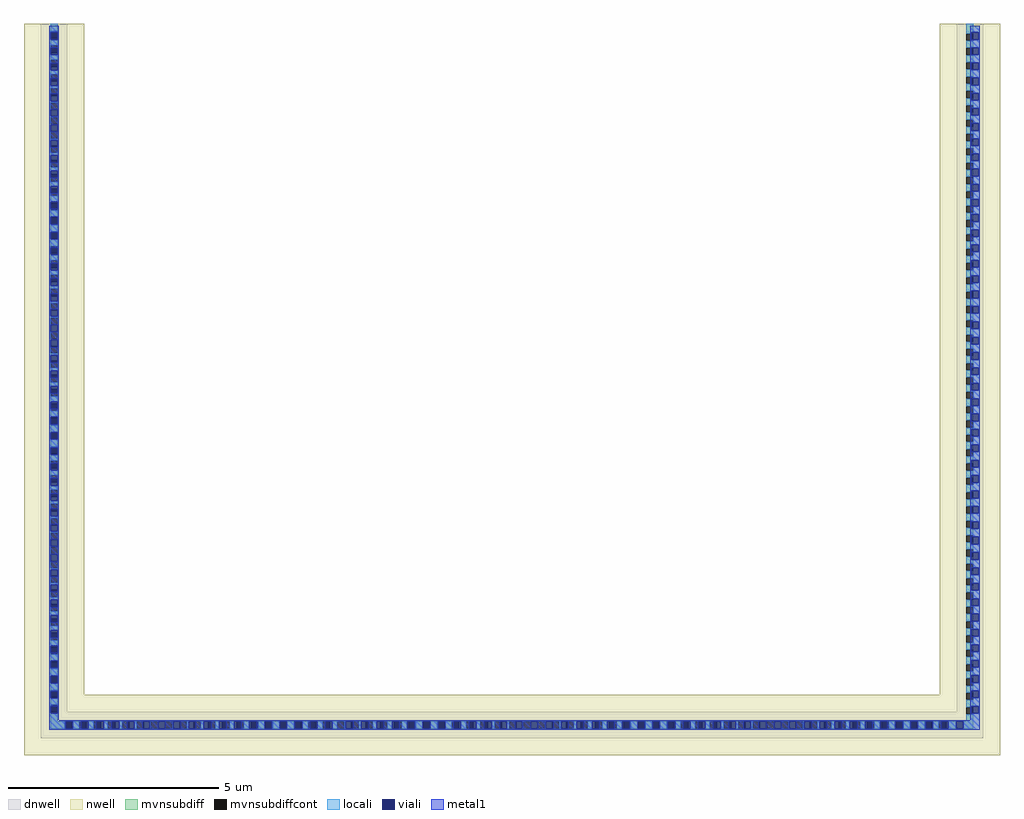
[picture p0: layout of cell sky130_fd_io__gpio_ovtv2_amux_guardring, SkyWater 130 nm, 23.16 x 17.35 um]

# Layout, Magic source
magic
tech sky130A
magscale 1 2
<< dnwell >>
rect -40 86 86 3350
rect 4306 86 4432 3350
rect -40 -40 4432 86
<< nwell >>
rect -120 166 166 3350
rect 4226 166 4512 3350
rect -120 -120 4512 166
<< mvnsubdiff >>
rect 6 3316 40 3350
rect 6 3248 40 3282
rect 6 3180 40 3214
rect 6 3112 40 3146
rect 6 3044 40 3078
rect 6 2976 40 3010
rect 6 2908 40 2942
rect 6 2840 40 2874
rect 6 2772 40 2806
rect 6 2704 40 2738
rect 6 2636 40 2670
rect 6 2568 40 2602
rect 6 2500 40 2534
rect 6 2432 40 2466
rect 6 2364 40 2398
rect 6 2296 40 2330
rect 6 2228 40 2262
rect 6 2160 40 2194
rect 6 2092 40 2126
rect 6 2024 40 2058
rect 6 1956 40 1990
rect 6 1888 40 1922
rect 6 1820 40 1854
rect 6 1752 40 1786
rect 6 1684 40 1718
rect 6 1616 40 1650
rect 6 1548 40 1582
rect 6 1480 40 1514
rect 6 1412 40 1446
rect 6 1344 40 1378
rect 6 1276 40 1310
rect 6 1208 40 1242
rect 6 1140 40 1174
rect 6 1072 40 1106
rect 6 1004 40 1038
rect 6 936 40 970
rect 6 868 40 902
rect 6 800 40 834
rect 6 732 40 766
rect 6 664 40 698
rect 6 596 40 630
rect 6 528 40 562
rect 6 460 40 494
rect 6 392 40 426
rect 6 324 40 358
rect 6 256 40 290
rect 6 188 40 222
rect 6 120 40 154
rect 6 40 40 86
rect 4352 3304 4386 3350
rect 4352 3236 4386 3270
rect 4352 3168 4386 3202
rect 4352 3100 4386 3134
rect 4352 3032 4386 3066
rect 4352 2964 4386 2998
rect 4352 2896 4386 2930
rect 4352 2828 4386 2862
rect 4352 2760 4386 2794
rect 4352 2692 4386 2726
rect 4352 2624 4386 2658
rect 4352 2556 4386 2590
rect 4352 2488 4386 2522
rect 4352 2420 4386 2454
rect 4352 2352 4386 2386
rect 4352 2284 4386 2318
rect 4352 2216 4386 2250
rect 4352 2148 4386 2182
rect 4352 2080 4386 2114
rect 4352 2012 4386 2046
rect 4352 1944 4386 1978
rect 4352 1876 4386 1910
rect 4352 1808 4386 1842
rect 4352 1740 4386 1774
rect 4352 1672 4386 1706
rect 4352 1604 4386 1638
rect 4352 1536 4386 1570
rect 4352 1468 4386 1502
rect 4352 1400 4386 1434
rect 4352 1332 4386 1366
rect 4352 1264 4386 1298
rect 4352 1196 4386 1230
rect 4352 1128 4386 1162
rect 4352 1060 4386 1094
rect 4352 992 4386 1026
rect 4352 924 4386 958
rect 4352 856 4386 890
rect 4352 788 4386 822
rect 4352 720 4386 754
rect 4352 652 4386 686
rect 4352 584 4386 618
rect 4352 516 4386 550
rect 4352 448 4386 482
rect 4352 380 4386 414
rect 4352 312 4386 346
rect 4352 244 4386 278
rect 4352 176 4386 210
rect 4352 108 4386 142
rect 4352 40 4386 74
rect 6 6 74 40
rect 108 6 142 40
rect 176 6 210 40
rect 244 6 278 40
rect 312 6 346 40
rect 380 6 414 40
rect 448 6 482 40
rect 516 6 550 40
rect 584 6 618 40
rect 652 6 686 40
rect 720 6 754 40
rect 788 6 822 40
rect 856 6 890 40
rect 924 6 958 40
rect 992 6 1026 40
rect 1060 6 1094 40
rect 1128 6 1162 40
rect 1196 6 1230 40
rect 1264 6 1298 40
rect 1332 6 1366 40
rect 1400 6 1434 40
rect 1468 6 1502 40
rect 1536 6 1570 40
rect 1604 6 1638 40
rect 1672 6 1706 40
rect 1740 6 1774 40
rect 1808 6 1842 40
rect 1876 6 1910 40
rect 1944 6 1978 40
rect 2012 6 2046 40
rect 2080 6 2114 40
rect 2148 6 2182 40
rect 2216 6 2250 40
rect 2284 6 2318 40
rect 2352 6 2386 40
rect 2420 6 2454 40
rect 2488 6 2522 40
rect 2556 6 2590 40
rect 2624 6 2658 40
rect 2692 6 2726 40
rect 2760 6 2794 40
rect 2828 6 2862 40
rect 2896 6 2930 40
rect 2964 6 2998 40
rect 3032 6 3066 40
rect 3100 6 3134 40
rect 3168 6 3202 40
rect 3236 6 3270 40
rect 3304 6 3338 40
rect 3372 6 3406 40
rect 3440 6 3474 40
rect 3508 6 3542 40
rect 3576 6 3610 40
rect 3644 6 3678 40
rect 3712 6 3746 40
rect 3780 6 3814 40
rect 3848 6 3882 40
rect 3916 6 3950 40
rect 3984 6 4018 40
rect 4052 6 4086 40
rect 4120 6 4154 40
rect 4188 6 4222 40
rect 4256 6 4386 40
<< mvnsubdiffcont >>
rect 6 3282 40 3316
rect 6 3214 40 3248
rect 6 3146 40 3180
rect 6 3078 40 3112
rect 6 3010 40 3044
rect 6 2942 40 2976
rect 6 2874 40 2908
rect 6 2806 40 2840
rect 6 2738 40 2772
rect 6 2670 40 2704
rect 6 2602 40 2636
rect 6 2534 40 2568
rect 6 2466 40 2500
rect 6 2398 40 2432
rect 6 2330 40 2364
rect 6 2262 40 2296
rect 6 2194 40 2228
rect 6 2126 40 2160
rect 6 2058 40 2092
rect 6 1990 40 2024
rect 6 1922 40 1956
rect 6 1854 40 1888
rect 6 1786 40 1820
rect 6 1718 40 1752
rect 6 1650 40 1684
rect 6 1582 40 1616
rect 6 1514 40 1548
rect 6 1446 40 1480
rect 6 1378 40 1412
rect 6 1310 40 1344
rect 6 1242 40 1276
rect 6 1174 40 1208
rect 6 1106 40 1140
rect 6 1038 40 1072
rect 6 970 40 1004
rect 6 902 40 936
rect 6 834 40 868
rect 6 766 40 800
rect 6 698 40 732
rect 6 630 40 664
rect 6 562 40 596
rect 6 494 40 528
rect 6 426 40 460
rect 6 358 40 392
rect 6 290 40 324
rect 6 222 40 256
rect 6 154 40 188
rect 6 86 40 120
rect 4352 3270 4386 3304
rect 4352 3202 4386 3236
rect 4352 3134 4386 3168
rect 4352 3066 4386 3100
rect 4352 2998 4386 3032
rect 4352 2930 4386 2964
rect 4352 2862 4386 2896
rect 4352 2794 4386 2828
rect 4352 2726 4386 2760
rect 4352 2658 4386 2692
rect 4352 2590 4386 2624
rect 4352 2522 4386 2556
rect 4352 2454 4386 2488
rect 4352 2386 4386 2420
rect 4352 2318 4386 2352
rect 4352 2250 4386 2284
rect 4352 2182 4386 2216
rect 4352 2114 4386 2148
rect 4352 2046 4386 2080
rect 4352 1978 4386 2012
rect 4352 1910 4386 1944
rect 4352 1842 4386 1876
rect 4352 1774 4386 1808
rect 4352 1706 4386 1740
rect 4352 1638 4386 1672
rect 4352 1570 4386 1604
rect 4352 1502 4386 1536
rect 4352 1434 4386 1468
rect 4352 1366 4386 1400
rect 4352 1298 4386 1332
rect 4352 1230 4386 1264
rect 4352 1162 4386 1196
rect 4352 1094 4386 1128
rect 4352 1026 4386 1060
rect 4352 958 4386 992
rect 4352 890 4386 924
rect 4352 822 4386 856
rect 4352 754 4386 788
rect 4352 686 4386 720
rect 4352 618 4386 652
rect 4352 550 4386 584
rect 4352 482 4386 516
rect 4352 414 4386 448
rect 4352 346 4386 380
rect 4352 278 4386 312
rect 4352 210 4386 244
rect 4352 142 4386 176
rect 4352 74 4386 108
rect 74 6 108 40
rect 142 6 176 40
rect 210 6 244 40
rect 278 6 312 40
rect 346 6 380 40
rect 414 6 448 40
rect 482 6 516 40
rect 550 6 584 40
rect 618 6 652 40
rect 686 6 720 40
rect 754 6 788 40
rect 822 6 856 40
rect 890 6 924 40
rect 958 6 992 40
rect 1026 6 1060 40
rect 1094 6 1128 40
rect 1162 6 1196 40
rect 1230 6 1264 40
rect 1298 6 1332 40
rect 1366 6 1400 40
rect 1434 6 1468 40
rect 1502 6 1536 40
rect 1570 6 1604 40
rect 1638 6 1672 40
rect 1706 6 1740 40
rect 1774 6 1808 40
rect 1842 6 1876 40
rect 1910 6 1944 40
rect 1978 6 2012 40
rect 2046 6 2080 40
rect 2114 6 2148 40
rect 2182 6 2216 40
rect 2250 6 2284 40
rect 2318 6 2352 40
rect 2386 6 2420 40
rect 2454 6 2488 40
rect 2522 6 2556 40
rect 2590 6 2624 40
rect 2658 6 2692 40
rect 2726 6 2760 40
rect 2794 6 2828 40
rect 2862 6 2896 40
rect 2930 6 2964 40
rect 2998 6 3032 40
rect 3066 6 3100 40
rect 3134 6 3168 40
rect 3202 6 3236 40
rect 3270 6 3304 40
rect 3338 6 3372 40
rect 3406 6 3440 40
rect 3474 6 3508 40
rect 3542 6 3576 40
rect 3610 6 3644 40
rect 3678 6 3712 40
rect 3746 6 3780 40
rect 3814 6 3848 40
rect 3882 6 3916 40
rect 3950 6 3984 40
rect 4018 6 4052 40
rect 4086 6 4120 40
rect 4154 6 4188 40
rect 4222 6 4256 40
<< locali >>
rect 6 3342 40 3350
rect 4352 3342 4386 3350
rect 0 3316 46 3342
rect 0 3276 6 3316
rect 40 3276 46 3316
rect 0 3248 46 3276
rect 0 3203 6 3248
rect 40 3203 46 3248
rect 0 3180 46 3203
rect 0 3130 6 3180
rect 40 3130 46 3180
rect 0 3112 46 3130
rect 0 3057 6 3112
rect 40 3057 46 3112
rect 0 3044 46 3057
rect 0 2984 6 3044
rect 40 2984 46 3044
rect 0 2976 46 2984
rect 0 2911 6 2976
rect 40 2911 46 2976
rect 0 2908 46 2911
rect 0 2874 6 2908
rect 40 2874 46 2908
rect 0 2872 46 2874
rect 0 2806 6 2872
rect 40 2806 46 2872
rect 0 2799 46 2806
rect 0 2738 6 2799
rect 40 2738 46 2799
rect 0 2726 46 2738
rect 0 2670 6 2726
rect 40 2670 46 2726
rect 0 2653 46 2670
rect 0 2602 6 2653
rect 40 2602 46 2653
rect 0 2580 46 2602
rect 0 2534 6 2580
rect 40 2534 46 2580
rect 0 2507 46 2534
rect 0 2466 6 2507
rect 40 2466 46 2507
rect 0 2434 46 2466
rect 0 2398 6 2434
rect 40 2398 46 2434
rect 0 2364 46 2398
rect 0 2327 6 2364
rect 40 2327 46 2364
rect 0 2296 46 2327
rect 0 2254 6 2296
rect 40 2254 46 2296
rect 0 2228 46 2254
rect 0 2181 6 2228
rect 40 2181 46 2228
rect 0 2160 46 2181
rect 0 2108 6 2160
rect 40 2108 46 2160
rect 0 2092 46 2108
rect 0 2035 6 2092
rect 40 2035 46 2092
rect 0 2024 46 2035
rect 0 1962 6 2024
rect 40 1962 46 2024
rect 0 1956 46 1962
rect 0 1889 6 1956
rect 40 1889 46 1956
rect 0 1888 46 1889
rect 0 1854 6 1888
rect 40 1854 46 1888
rect 0 1850 46 1854
rect 0 1786 6 1850
rect 40 1786 46 1850
rect 0 1777 46 1786
rect 0 1718 6 1777
rect 40 1718 46 1777
rect 0 1704 46 1718
rect 0 1650 6 1704
rect 40 1650 46 1704
rect 0 1631 46 1650
rect 0 1582 6 1631
rect 40 1582 46 1631
rect 0 1558 46 1582
rect 0 1514 6 1558
rect 40 1514 46 1558
rect 0 1485 46 1514
rect 0 1446 6 1485
rect 40 1446 46 1485
rect 0 1412 46 1446
rect 0 1378 6 1412
rect 40 1378 46 1412
rect 0 1344 46 1378
rect 0 1305 6 1344
rect 40 1305 46 1344
rect 0 1276 46 1305
rect 0 1232 6 1276
rect 40 1232 46 1276
rect 0 1208 46 1232
rect 0 1159 6 1208
rect 40 1159 46 1208
rect 0 1140 46 1159
rect 0 1086 6 1140
rect 40 1086 46 1140
rect 0 1072 46 1086
rect 0 1014 6 1072
rect 40 1014 46 1072
rect 0 1004 46 1014
rect 0 942 6 1004
rect 40 942 46 1004
rect 0 936 46 942
rect 0 870 6 936
rect 40 870 46 936
rect 0 868 46 870
rect 0 834 6 868
rect 40 834 46 868
rect 0 832 46 834
rect 0 766 6 832
rect 40 766 46 832
rect 0 760 46 766
rect 0 698 6 760
rect 40 698 46 760
rect 0 688 46 698
rect 0 630 6 688
rect 40 630 46 688
rect 0 616 46 630
rect 0 562 6 616
rect 40 562 46 616
rect 0 544 46 562
rect 0 494 6 544
rect 40 494 46 544
rect 0 472 46 494
rect 0 426 6 472
rect 40 426 46 472
rect 0 400 46 426
rect 0 358 6 400
rect 40 358 46 400
rect 0 328 46 358
rect 0 290 6 328
rect 40 290 46 328
rect 0 256 46 290
rect 0 222 6 256
rect 40 222 46 256
rect 0 188 46 222
rect 0 150 6 188
rect 40 150 46 188
rect 0 120 46 150
rect 0 78 6 120
rect 40 78 46 120
rect 0 46 46 78
rect 4352 3310 4416 3342
rect 4352 3304 4376 3310
rect 4410 3276 4416 3310
rect 4386 3270 4416 3276
rect 4352 3238 4416 3270
rect 4352 3236 4376 3238
rect 4410 3204 4416 3238
rect 4386 3202 4416 3204
rect 4352 3168 4416 3202
rect 4386 3166 4416 3168
rect 4352 3132 4376 3134
rect 4410 3132 4416 3166
rect 4352 3100 4416 3132
rect 4386 3094 4416 3100
rect 4352 3060 4376 3066
rect 4410 3060 4416 3094
rect 4352 3032 4416 3060
rect 4386 3022 4416 3032
rect 4352 2988 4376 2998
rect 4410 2988 4416 3022
rect 4352 2964 4416 2988
rect 4386 2950 4416 2964
rect 4352 2916 4376 2930
rect 4410 2916 4416 2950
rect 4352 2896 4416 2916
rect 4386 2878 4416 2896
rect 4352 2844 4376 2862
rect 4410 2844 4416 2878
rect 4352 2828 4416 2844
rect 4386 2806 4416 2828
rect 4352 2772 4376 2794
rect 4410 2772 4416 2806
rect 4352 2760 4416 2772
rect 4386 2734 4416 2760
rect 4352 2700 4376 2726
rect 4410 2700 4416 2734
rect 4352 2692 4416 2700
rect 4386 2662 4416 2692
rect 4352 2628 4376 2658
rect 4410 2628 4416 2662
rect 4352 2624 4416 2628
rect 4386 2590 4416 2624
rect 4352 2556 4376 2590
rect 4410 2556 4416 2590
rect 4386 2522 4416 2556
rect 4352 2518 4416 2522
rect 4352 2488 4376 2518
rect 4410 2484 4416 2518
rect 4386 2454 4416 2484
rect 4352 2446 4416 2454
rect 4352 2420 4376 2446
rect 4410 2412 4416 2446
rect 4386 2386 4416 2412
rect 4352 2374 4416 2386
rect 4352 2352 4376 2374
rect 4410 2340 4416 2374
rect 4386 2318 4416 2340
rect 4352 2302 4416 2318
rect 4352 2284 4376 2302
rect 4410 2268 4416 2302
rect 4386 2250 4416 2268
rect 4352 2229 4416 2250
rect 4352 2216 4376 2229
rect 4410 2195 4416 2229
rect 4386 2182 4416 2195
rect 4352 2156 4416 2182
rect 4352 2148 4376 2156
rect 4410 2122 4416 2156
rect 4386 2114 4416 2122
rect 4352 2083 4416 2114
rect 4352 2080 4376 2083
rect 4410 2049 4416 2083
rect 4386 2046 4416 2049
rect 4352 2012 4416 2046
rect 4386 2010 4416 2012
rect 4352 1976 4376 1978
rect 4410 1976 4416 2010
rect 4352 1944 4416 1976
rect 4386 1937 4416 1944
rect 4352 1903 4376 1910
rect 4410 1903 4416 1937
rect 4352 1876 4416 1903
rect 4386 1864 4416 1876
rect 4352 1830 4376 1842
rect 4410 1830 4416 1864
rect 4352 1808 4416 1830
rect 4386 1791 4416 1808
rect 4352 1757 4376 1774
rect 4410 1757 4416 1791
rect 4352 1740 4416 1757
rect 4386 1718 4416 1740
rect 4352 1684 4376 1706
rect 4410 1684 4416 1718
rect 4352 1672 4416 1684
rect 4386 1645 4416 1672
rect 4352 1611 4376 1638
rect 4410 1611 4416 1645
rect 4352 1604 4416 1611
rect 4386 1572 4416 1604
rect 4352 1538 4376 1570
rect 4410 1538 4416 1572
rect 4352 1536 4416 1538
rect 4386 1502 4416 1536
rect 4352 1499 4416 1502
rect 4352 1468 4376 1499
rect 4410 1465 4416 1499
rect 4386 1434 4416 1465
rect 4352 1426 4416 1434
rect 4352 1400 4376 1426
rect 4410 1392 4416 1426
rect 4386 1366 4416 1392
rect 4352 1353 4416 1366
rect 4352 1332 4376 1353
rect 4410 1319 4416 1353
rect 4386 1298 4416 1319
rect 4352 1280 4416 1298
rect 4352 1264 4376 1280
rect 4410 1246 4416 1280
rect 4386 1230 4416 1246
rect 4352 1207 4416 1230
rect 4352 1196 4376 1207
rect 4410 1173 4416 1207
rect 4386 1162 4416 1173
rect 4352 1134 4416 1162
rect 4352 1128 4376 1134
rect 4410 1100 4416 1134
rect 4386 1094 4416 1100
rect 4352 1061 4416 1094
rect 4352 1060 4376 1061
rect 4410 1027 4416 1061
rect 4386 1026 4416 1027
rect 4352 992 4416 1026
rect 4386 988 4416 992
rect 4352 954 4376 958
rect 4410 954 4416 988
rect 4352 924 4416 954
rect 4386 915 4416 924
rect 4352 881 4376 890
rect 4410 881 4416 915
rect 4352 856 4416 881
rect 4386 842 4416 856
rect 4352 808 4376 822
rect 4410 808 4416 842
rect 4352 788 4416 808
rect 4386 769 4416 788
rect 4352 735 4376 754
rect 4410 735 4416 769
rect 4352 720 4416 735
rect 4386 696 4416 720
rect 4352 662 4376 686
rect 4410 662 4416 696
rect 4352 652 4416 662
rect 4386 623 4416 652
rect 4352 589 4376 618
rect 4410 589 4416 623
rect 4352 584 4416 589
rect 4386 550 4416 584
rect 4352 516 4376 550
rect 4410 516 4416 550
rect 4386 482 4416 516
rect 4352 477 4416 482
rect 4352 448 4376 477
rect 4410 443 4416 477
rect 4386 414 4416 443
rect 4352 404 4416 414
rect 4352 380 4376 404
rect 4410 370 4416 404
rect 4386 346 4416 370
rect 4352 331 4416 346
rect 4352 312 4376 331
rect 4410 297 4416 331
rect 4386 278 4416 297
rect 4352 258 4416 278
rect 4352 244 4376 258
rect 4410 224 4416 258
rect 4386 210 4416 224
rect 4352 185 4416 210
rect 4352 176 4376 185
rect 4410 151 4416 185
rect 4386 142 4416 151
rect 4352 112 4416 142
rect 4352 108 4376 112
rect 4410 78 4416 112
rect 4386 74 4416 78
rect 4352 46 4416 74
rect 0 40 4416 46
rect 0 6 74 40
rect 112 6 142 40
rect 185 6 210 40
rect 258 6 278 40
rect 331 6 346 40
rect 404 6 414 40
rect 477 6 482 40
rect 584 6 589 40
rect 652 6 662 40
rect 720 6 734 40
rect 788 6 806 40
rect 856 6 878 40
rect 924 6 950 40
rect 992 6 1022 40
rect 1060 6 1094 40
rect 1128 6 1162 40
rect 1200 6 1230 40
rect 1272 6 1298 40
rect 1344 6 1366 40
rect 1400 6 1408 40
rect 1468 6 1481 40
rect 1536 6 1554 40
rect 1604 6 1627 40
rect 1672 6 1700 40
rect 1740 6 1773 40
rect 1808 6 1842 40
rect 1880 6 1910 40
rect 1953 6 1978 40
rect 2026 6 2046 40
rect 2099 6 2114 40
rect 2172 6 2182 40
rect 2245 6 2250 40
rect 2352 6 2357 40
rect 2420 6 2430 40
rect 2488 6 2503 40
rect 2556 6 2576 40
rect 2624 6 2648 40
rect 2692 6 2720 40
rect 2760 6 2792 40
rect 2828 6 2862 40
rect 2898 6 2930 40
rect 2970 6 2998 40
rect 3042 6 3066 40
rect 3114 6 3134 40
rect 3186 6 3202 40
rect 3258 6 3270 40
rect 3330 6 3338 40
rect 3402 6 3406 40
rect 3508 6 3512 40
rect 3576 6 3584 40
rect 3644 6 3656 40
rect 3712 6 3728 40
rect 3780 6 3800 40
rect 3848 6 3872 40
rect 3916 6 3944 40
rect 3984 6 4016 40
rect 4052 6 4086 40
rect 4122 6 4154 40
rect 4194 6 4222 40
rect 4266 6 4304 40
rect 4338 6 4416 40
rect 0 0 4416 6
<< viali >>
rect 6 3282 40 3310
rect 6 3276 40 3282
rect 6 3214 40 3237
rect 6 3203 40 3214
rect 6 3146 40 3164
rect 6 3130 40 3146
rect 6 3078 40 3091
rect 6 3057 40 3078
rect 6 3010 40 3018
rect 6 2984 40 3010
rect 6 2942 40 2945
rect 6 2911 40 2942
rect 6 2840 40 2872
rect 6 2838 40 2840
rect 6 2772 40 2799
rect 6 2765 40 2772
rect 6 2704 40 2726
rect 6 2692 40 2704
rect 6 2636 40 2653
rect 6 2619 40 2636
rect 6 2568 40 2580
rect 6 2546 40 2568
rect 6 2500 40 2507
rect 6 2473 40 2500
rect 6 2432 40 2434
rect 6 2400 40 2432
rect 6 2330 40 2361
rect 6 2327 40 2330
rect 6 2262 40 2288
rect 6 2254 40 2262
rect 6 2194 40 2215
rect 6 2181 40 2194
rect 6 2126 40 2142
rect 6 2108 40 2126
rect 6 2058 40 2069
rect 6 2035 40 2058
rect 6 1990 40 1996
rect 6 1962 40 1990
rect 6 1922 40 1923
rect 6 1889 40 1922
rect 6 1820 40 1850
rect 6 1816 40 1820
rect 6 1752 40 1777
rect 6 1743 40 1752
rect 6 1684 40 1704
rect 6 1670 40 1684
rect 6 1616 40 1631
rect 6 1597 40 1616
rect 6 1548 40 1558
rect 6 1524 40 1548
rect 6 1480 40 1485
rect 6 1451 40 1480
rect 6 1378 40 1412
rect 6 1310 40 1339
rect 6 1305 40 1310
rect 6 1242 40 1266
rect 6 1232 40 1242
rect 6 1174 40 1193
rect 6 1159 40 1174
rect 6 1106 40 1120
rect 6 1086 40 1106
rect 6 1038 40 1048
rect 6 1014 40 1038
rect 6 970 40 976
rect 6 942 40 970
rect 6 902 40 904
rect 6 870 40 902
rect 6 800 40 832
rect 6 798 40 800
rect 6 732 40 760
rect 6 726 40 732
rect 6 664 40 688
rect 6 654 40 664
rect 6 596 40 616
rect 6 582 40 596
rect 6 528 40 544
rect 6 510 40 528
rect 6 460 40 472
rect 6 438 40 460
rect 6 392 40 400
rect 6 366 40 392
rect 6 324 40 328
rect 6 294 40 324
rect 6 222 40 256
rect 6 154 40 184
rect 6 150 40 154
rect 6 86 40 112
rect 6 78 40 86
rect 4376 3304 4410 3310
rect 4376 3276 4386 3304
rect 4386 3276 4410 3304
rect 4376 3236 4410 3238
rect 4376 3204 4386 3236
rect 4386 3204 4410 3236
rect 4376 3134 4386 3166
rect 4386 3134 4410 3166
rect 4376 3132 4410 3134
rect 4376 3066 4386 3094
rect 4386 3066 4410 3094
rect 4376 3060 4410 3066
rect 4376 2998 4386 3022
rect 4386 2998 4410 3022
rect 4376 2988 4410 2998
rect 4376 2930 4386 2950
rect 4386 2930 4410 2950
rect 4376 2916 4410 2930
rect 4376 2862 4386 2878
rect 4386 2862 4410 2878
rect 4376 2844 4410 2862
rect 4376 2794 4386 2806
rect 4386 2794 4410 2806
rect 4376 2772 4410 2794
rect 4376 2726 4386 2734
rect 4386 2726 4410 2734
rect 4376 2700 4410 2726
rect 4376 2658 4386 2662
rect 4386 2658 4410 2662
rect 4376 2628 4410 2658
rect 4376 2556 4410 2590
rect 4376 2488 4410 2518
rect 4376 2484 4386 2488
rect 4386 2484 4410 2488
rect 4376 2420 4410 2446
rect 4376 2412 4386 2420
rect 4386 2412 4410 2420
rect 4376 2352 4410 2374
rect 4376 2340 4386 2352
rect 4386 2340 4410 2352
rect 4376 2284 4410 2302
rect 4376 2268 4386 2284
rect 4386 2268 4410 2284
rect 4376 2216 4410 2229
rect 4376 2195 4386 2216
rect 4386 2195 4410 2216
rect 4376 2148 4410 2156
rect 4376 2122 4386 2148
rect 4386 2122 4410 2148
rect 4376 2080 4410 2083
rect 4376 2049 4386 2080
rect 4386 2049 4410 2080
rect 4376 1978 4386 2010
rect 4386 1978 4410 2010
rect 4376 1976 4410 1978
rect 4376 1910 4386 1937
rect 4386 1910 4410 1937
rect 4376 1903 4410 1910
rect 4376 1842 4386 1864
rect 4386 1842 4410 1864
rect 4376 1830 4410 1842
rect 4376 1774 4386 1791
rect 4386 1774 4410 1791
rect 4376 1757 4410 1774
rect 4376 1706 4386 1718
rect 4386 1706 4410 1718
rect 4376 1684 4410 1706
rect 4376 1638 4386 1645
rect 4386 1638 4410 1645
rect 4376 1611 4410 1638
rect 4376 1570 4386 1572
rect 4386 1570 4410 1572
rect 4376 1538 4410 1570
rect 4376 1468 4410 1499
rect 4376 1465 4386 1468
rect 4386 1465 4410 1468
rect 4376 1400 4410 1426
rect 4376 1392 4386 1400
rect 4386 1392 4410 1400
rect 4376 1332 4410 1353
rect 4376 1319 4386 1332
rect 4386 1319 4410 1332
rect 4376 1264 4410 1280
rect 4376 1246 4386 1264
rect 4386 1246 4410 1264
rect 4376 1196 4410 1207
rect 4376 1173 4386 1196
rect 4386 1173 4410 1196
rect 4376 1128 4410 1134
rect 4376 1100 4386 1128
rect 4386 1100 4410 1128
rect 4376 1060 4410 1061
rect 4376 1027 4386 1060
rect 4386 1027 4410 1060
rect 4376 958 4386 988
rect 4386 958 4410 988
rect 4376 954 4410 958
rect 4376 890 4386 915
rect 4386 890 4410 915
rect 4376 881 4410 890
rect 4376 822 4386 842
rect 4386 822 4410 842
rect 4376 808 4410 822
rect 4376 754 4386 769
rect 4386 754 4410 769
rect 4376 735 4410 754
rect 4376 686 4386 696
rect 4386 686 4410 696
rect 4376 662 4410 686
rect 4376 618 4386 623
rect 4386 618 4410 623
rect 4376 589 4410 618
rect 4376 516 4410 550
rect 4376 448 4410 477
rect 4376 443 4386 448
rect 4386 443 4410 448
rect 4376 380 4410 404
rect 4376 370 4386 380
rect 4386 370 4410 380
rect 4376 312 4410 331
rect 4376 297 4386 312
rect 4386 297 4410 312
rect 4376 244 4410 258
rect 4376 224 4386 244
rect 4386 224 4410 244
rect 4376 176 4410 185
rect 4376 151 4386 176
rect 4386 151 4410 176
rect 4376 108 4410 112
rect 4376 78 4386 108
rect 4386 78 4410 108
rect 78 6 108 40
rect 108 6 112 40
rect 151 6 176 40
rect 176 6 185 40
rect 224 6 244 40
rect 244 6 258 40
rect 297 6 312 40
rect 312 6 331 40
rect 370 6 380 40
rect 380 6 404 40
rect 443 6 448 40
rect 448 6 477 40
rect 516 6 550 40
rect 589 6 618 40
rect 618 6 623 40
rect 662 6 686 40
rect 686 6 696 40
rect 734 6 754 40
rect 754 6 768 40
rect 806 6 822 40
rect 822 6 840 40
rect 878 6 890 40
rect 890 6 912 40
rect 950 6 958 40
rect 958 6 984 40
rect 1022 6 1026 40
rect 1026 6 1056 40
rect 1094 6 1128 40
rect 1166 6 1196 40
rect 1196 6 1200 40
rect 1238 6 1264 40
rect 1264 6 1272 40
rect 1310 6 1332 40
rect 1332 6 1344 40
rect 1408 6 1434 40
rect 1434 6 1442 40
rect 1481 6 1502 40
rect 1502 6 1515 40
rect 1554 6 1570 40
rect 1570 6 1588 40
rect 1627 6 1638 40
rect 1638 6 1661 40
rect 1700 6 1706 40
rect 1706 6 1734 40
rect 1773 6 1774 40
rect 1774 6 1807 40
rect 1846 6 1876 40
rect 1876 6 1880 40
rect 1919 6 1944 40
rect 1944 6 1953 40
rect 1992 6 2012 40
rect 2012 6 2026 40
rect 2065 6 2080 40
rect 2080 6 2099 40
rect 2138 6 2148 40
rect 2148 6 2172 40
rect 2211 6 2216 40
rect 2216 6 2245 40
rect 2284 6 2318 40
rect 2357 6 2386 40
rect 2386 6 2391 40
rect 2430 6 2454 40
rect 2454 6 2464 40
rect 2503 6 2522 40
rect 2522 6 2537 40
rect 2576 6 2590 40
rect 2590 6 2610 40
rect 2648 6 2658 40
rect 2658 6 2682 40
rect 2720 6 2726 40
rect 2726 6 2754 40
rect 2792 6 2794 40
rect 2794 6 2826 40
rect 2864 6 2896 40
rect 2896 6 2898 40
rect 2936 6 2964 40
rect 2964 6 2970 40
rect 3008 6 3032 40
rect 3032 6 3042 40
rect 3080 6 3100 40
rect 3100 6 3114 40
rect 3152 6 3168 40
rect 3168 6 3186 40
rect 3224 6 3236 40
rect 3236 6 3258 40
rect 3296 6 3304 40
rect 3304 6 3330 40
rect 3368 6 3372 40
rect 3372 6 3402 40
rect 3440 6 3474 40
rect 3512 6 3542 40
rect 3542 6 3546 40
rect 3584 6 3610 40
rect 3610 6 3618 40
rect 3656 6 3678 40
rect 3678 6 3690 40
rect 3728 6 3746 40
rect 3746 6 3762 40
rect 3800 6 3814 40
rect 3814 6 3834 40
rect 3872 6 3882 40
rect 3882 6 3906 40
rect 3944 6 3950 40
rect 3950 6 3978 40
rect 4016 6 4018 40
rect 4018 6 4050 40
rect 4088 6 4120 40
rect 4120 6 4122 40
rect 4160 6 4188 40
rect 4188 6 4194 40
rect 4232 6 4256 40
rect 4256 6 4266 40
rect 4304 6 4338 40
<< metal1 >>
rect 0 3310 46 3342
rect 0 3276 6 3310
rect 40 3276 46 3310
rect 0 3237 46 3276
rect 0 3203 6 3237
rect 40 3203 46 3237
rect 0 3164 46 3203
rect 0 3130 6 3164
rect 40 3130 46 3164
rect 0 3091 46 3130
rect 0 3057 6 3091
rect 40 3057 46 3091
rect 0 3018 46 3057
rect 0 2984 6 3018
rect 40 2984 46 3018
rect 0 2945 46 2984
rect 0 2911 6 2945
rect 40 2911 46 2945
rect 0 2872 46 2911
rect 0 2838 6 2872
rect 40 2838 46 2872
rect 0 2799 46 2838
rect 0 2765 6 2799
rect 40 2765 46 2799
rect 0 2726 46 2765
rect 0 2692 6 2726
rect 40 2692 46 2726
rect 0 2653 46 2692
rect 0 2619 6 2653
rect 40 2619 46 2653
rect 0 2580 46 2619
rect 0 2546 6 2580
rect 40 2546 46 2580
rect 0 2507 46 2546
rect 0 2473 6 2507
rect 40 2473 46 2507
rect 0 2434 46 2473
rect 0 2400 6 2434
rect 40 2400 46 2434
rect 0 2361 46 2400
rect 0 2327 6 2361
rect 40 2327 46 2361
rect 0 2288 46 2327
rect 0 2254 6 2288
rect 40 2254 46 2288
rect 0 2215 46 2254
rect 0 2181 6 2215
rect 40 2181 46 2215
rect 0 2142 46 2181
rect 0 2108 6 2142
rect 40 2108 46 2142
rect 0 2069 46 2108
rect 0 2035 6 2069
rect 40 2035 46 2069
rect 0 1996 46 2035
rect 0 1962 6 1996
rect 40 1962 46 1996
rect 0 1923 46 1962
rect 0 1889 6 1923
rect 40 1889 46 1923
rect 0 1850 46 1889
rect 0 1816 6 1850
rect 40 1816 46 1850
rect 0 1777 46 1816
rect 0 1743 6 1777
rect 40 1743 46 1777
rect 0 1704 46 1743
rect 0 1670 6 1704
rect 40 1670 46 1704
rect 0 1631 46 1670
rect 0 1597 6 1631
rect 40 1597 46 1631
rect 0 1558 46 1597
rect 0 1524 6 1558
rect 40 1524 46 1558
rect 0 1485 46 1524
rect 0 1451 6 1485
rect 40 1451 46 1485
rect 0 1412 46 1451
rect 0 1378 6 1412
rect 40 1378 46 1412
rect 0 1339 46 1378
rect 0 1305 6 1339
rect 40 1305 46 1339
rect 0 1266 46 1305
rect 0 1232 6 1266
rect 40 1232 46 1266
rect 0 1193 46 1232
rect 0 1159 6 1193
rect 40 1159 46 1193
rect 0 1120 46 1159
rect 0 1086 6 1120
rect 40 1086 46 1120
rect 0 1048 46 1086
rect 0 1014 6 1048
rect 40 1014 46 1048
rect 0 976 46 1014
rect 0 942 6 976
rect 40 942 46 976
rect 0 904 46 942
rect 0 870 6 904
rect 40 870 46 904
rect 0 832 46 870
rect 0 798 6 832
rect 40 798 46 832
rect 0 760 46 798
rect 0 726 6 760
rect 40 726 46 760
rect 0 688 46 726
rect 0 654 6 688
rect 40 654 46 688
rect 0 616 46 654
rect 0 582 6 616
rect 40 582 46 616
rect 0 544 46 582
rect 0 510 6 544
rect 40 510 46 544
rect 0 472 46 510
rect 0 438 6 472
rect 40 438 46 472
rect 0 400 46 438
rect 0 366 6 400
rect 40 366 46 400
rect 0 328 46 366
rect 0 294 6 328
rect 40 294 46 328
rect 0 256 46 294
rect 0 222 6 256
rect 40 222 46 256
rect 0 184 46 222
rect 0 150 6 184
rect 40 150 46 184
rect 0 112 46 150
rect 0 78 6 112
rect 40 78 46 112
rect 0 46 46 78
rect 4370 3310 4416 3342
rect 4370 3276 4376 3310
rect 4410 3276 4416 3310
rect 4370 3238 4416 3276
rect 4370 3204 4376 3238
rect 4410 3204 4416 3238
rect 4370 3166 4416 3204
rect 4370 3132 4376 3166
rect 4410 3132 4416 3166
rect 4370 3094 4416 3132
rect 4370 3060 4376 3094
rect 4410 3060 4416 3094
rect 4370 3022 4416 3060
rect 4370 2988 4376 3022
rect 4410 2988 4416 3022
rect 4370 2950 4416 2988
rect 4370 2916 4376 2950
rect 4410 2916 4416 2950
rect 4370 2878 4416 2916
rect 4370 2844 4376 2878
rect 4410 2844 4416 2878
rect 4370 2806 4416 2844
rect 4370 2772 4376 2806
rect 4410 2772 4416 2806
rect 4370 2734 4416 2772
rect 4370 2700 4376 2734
rect 4410 2700 4416 2734
rect 4370 2662 4416 2700
rect 4370 2628 4376 2662
rect 4410 2628 4416 2662
rect 4370 2590 4416 2628
rect 4370 2556 4376 2590
rect 4410 2556 4416 2590
rect 4370 2518 4416 2556
rect 4370 2484 4376 2518
rect 4410 2484 4416 2518
rect 4370 2446 4416 2484
rect 4370 2412 4376 2446
rect 4410 2412 4416 2446
rect 4370 2374 4416 2412
rect 4370 2340 4376 2374
rect 4410 2340 4416 2374
rect 4370 2302 4416 2340
rect 4370 2268 4376 2302
rect 4410 2268 4416 2302
rect 4370 2229 4416 2268
rect 4370 2195 4376 2229
rect 4410 2195 4416 2229
rect 4370 2156 4416 2195
rect 4370 2122 4376 2156
rect 4410 2122 4416 2156
rect 4370 2083 4416 2122
rect 4370 2049 4376 2083
rect 4410 2049 4416 2083
rect 4370 2010 4416 2049
rect 4370 1976 4376 2010
rect 4410 1976 4416 2010
rect 4370 1937 4416 1976
rect 4370 1903 4376 1937
rect 4410 1903 4416 1937
rect 4370 1864 4416 1903
rect 4370 1830 4376 1864
rect 4410 1830 4416 1864
rect 4370 1791 4416 1830
rect 4370 1757 4376 1791
rect 4410 1757 4416 1791
rect 4370 1718 4416 1757
rect 4370 1684 4376 1718
rect 4410 1684 4416 1718
rect 4370 1645 4416 1684
rect 4370 1611 4376 1645
rect 4410 1611 4416 1645
rect 4370 1572 4416 1611
rect 4370 1538 4376 1572
rect 4410 1538 4416 1572
rect 4370 1499 4416 1538
rect 4370 1465 4376 1499
rect 4410 1465 4416 1499
rect 4370 1426 4416 1465
rect 4370 1392 4376 1426
rect 4410 1392 4416 1426
rect 4370 1353 4416 1392
rect 4370 1319 4376 1353
rect 4410 1319 4416 1353
rect 4370 1280 4416 1319
rect 4370 1246 4376 1280
rect 4410 1246 4416 1280
rect 4370 1207 4416 1246
rect 4370 1173 4376 1207
rect 4410 1173 4416 1207
rect 4370 1134 4416 1173
rect 4370 1100 4376 1134
rect 4410 1100 4416 1134
rect 4370 1061 4416 1100
rect 4370 1027 4376 1061
rect 4410 1027 4416 1061
rect 4370 988 4416 1027
rect 4370 954 4376 988
rect 4410 954 4416 988
rect 4370 915 4416 954
rect 4370 881 4376 915
rect 4410 881 4416 915
rect 4370 842 4416 881
rect 4370 808 4376 842
rect 4410 808 4416 842
rect 4370 769 4416 808
rect 4370 735 4376 769
rect 4410 735 4416 769
rect 4370 696 4416 735
rect 4370 662 4376 696
rect 4410 662 4416 696
rect 4370 623 4416 662
rect 4370 589 4376 623
rect 4410 589 4416 623
rect 4370 550 4416 589
rect 4370 516 4376 550
rect 4410 516 4416 550
rect 4370 477 4416 516
rect 4370 443 4376 477
rect 4410 443 4416 477
rect 4370 404 4416 443
rect 4370 370 4376 404
rect 4410 370 4416 404
rect 4370 331 4416 370
rect 4370 297 4376 331
rect 4410 297 4416 331
rect 4370 258 4416 297
rect 4370 224 4376 258
rect 4410 224 4416 258
rect 4370 185 4416 224
rect 4370 151 4376 185
rect 4410 151 4416 185
rect 4370 112 4416 151
rect 4370 78 4376 112
rect 4410 78 4416 112
rect 4370 46 4416 78
rect 0 40 4416 46
rect 0 6 78 40
rect 112 6 151 40
rect 185 6 224 40
rect 258 6 297 40
rect 331 6 370 40
rect 404 6 443 40
rect 477 6 516 40
rect 550 6 589 40
rect 623 6 662 40
rect 696 6 734 40
rect 768 6 806 40
rect 840 6 878 40
rect 912 6 950 40
rect 984 6 1022 40
rect 1056 6 1094 40
rect 1128 6 1166 40
rect 1200 6 1238 40
rect 1272 6 1310 40
rect 1344 6 1408 40
rect 1442 6 1481 40
rect 1515 6 1554 40
rect 1588 6 1627 40
rect 1661 6 1700 40
rect 1734 6 1773 40
rect 1807 6 1846 40
rect 1880 6 1919 40
rect 1953 6 1992 40
rect 2026 6 2065 40
rect 2099 6 2138 40
rect 2172 6 2211 40
rect 2245 6 2284 40
rect 2318 6 2357 40
rect 2391 6 2430 40
rect 2464 6 2503 40
rect 2537 6 2576 40
rect 2610 6 2648 40
rect 2682 6 2720 40
rect 2754 6 2792 40
rect 2826 6 2864 40
rect 2898 6 2936 40
rect 2970 6 3008 40
rect 3042 6 3080 40
rect 3114 6 3152 40
rect 3186 6 3224 40
rect 3258 6 3296 40
rect 3330 6 3368 40
rect 3402 6 3440 40
rect 3474 6 3512 40
rect 3546 6 3584 40
rect 3618 6 3656 40
rect 3690 6 3728 40
rect 3762 6 3800 40
rect 3834 6 3872 40
rect 3906 6 3944 40
rect 3978 6 4016 40
rect 4050 6 4088 40
rect 4122 6 4160 40
rect 4194 6 4232 40
rect 4266 6 4304 40
rect 4338 6 4416 40
rect 0 0 4416 6
<< properties >>
string GDS_FILE $PDKPATH/libs.ref/sky130_fd_io/gds/sky130_fd_io.gds
string GDS_END 48452866
string GDS_START 48432318
<< end >>
